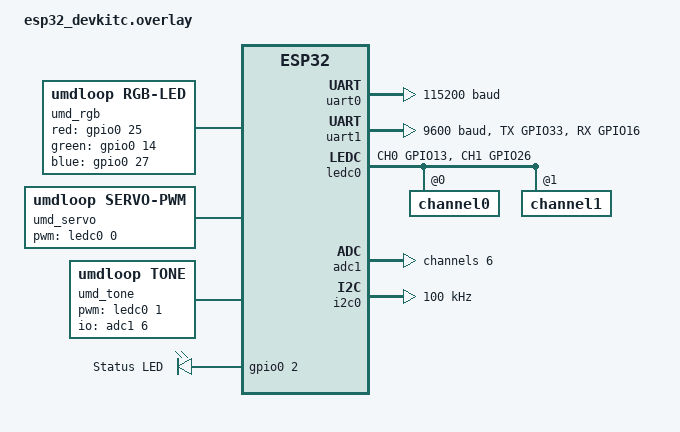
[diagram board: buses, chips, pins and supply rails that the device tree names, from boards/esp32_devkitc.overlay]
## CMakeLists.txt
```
# Copyright (c) 2026 UMD Loop
# SPDX-License-Identifier: Apache-2.0

cmake_minimum_required(VERSION 3.20.0)

list(APPEND ZEPHYR_EXTRA_MODULES ${CMAKE_CURRENT_SOURCE_DIR}/..)

# Always apply our pin map (works even if board overlay auto-detect misses)
set(DTC_OVERLAY_FILE ${CMAKE_CURRENT_SOURCE_DIR}/boards/esp32_devkitc.overlay)

find_package(Zephyr REQUIRED HINTS $ENV{ZEPHYR_BASE})
project(umd_loop_app)

target_sources(app PRIVATE src/main.c)
```

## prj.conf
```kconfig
# UMD Loop E2 application — enables peripherals + out-of-tree drivers

CONFIG_GPIO=y
CONFIG_PWM=y
CONFIG_ADC=y
CONFIG_SERIAL=y
CONFIG_UART_INTERRUPT_DRIVEN=n
CONFIG_I2C=y
CONFIG_LOG=y
CONFIG_PRINTK=y
CONFIG_CONSOLE=y
CONFIG_UART_CONSOLE=y

# Main stack / heap for multi-thread app
CONFIG_MAIN_STACK_SIZE=2048
CONFIG_HEAP_MEM_POOL_SIZE=2048

# Drivers (Kconfig from umd_loop module; also gated by DT nodes)
CONFIG_UMD_LOOP_RGB_LED=y
CONFIG_UMD_LOOP_SERVO=y
CONFIG_UMD_LOOP_TONE=y
CONFIG_UMD_LOOP_COMMS=y
```

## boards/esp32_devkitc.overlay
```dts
/*
 * ESP32 DevKitC overlay — conflict-free E2 pin map.
 * Used for board target: esp32_devkitc/esp32/procpu
 */

#include <zephyr/dt-bindings/gpio/gpio.h>
#include <zephyr/dt-bindings/pwm/pwm.h>
#include <zephyr/dt-bindings/adc/adc.h>
#include <zephyr/dt-bindings/i2c/i2c.h>

/ {
	chosen {
		zephyr,console = &uart0;
		zephyr,shell-uart = &uart0;
	};

	aliases {
		umd-rgb = &umd_rgb;
		umd-servo = &umd_servo;
		umd-tone = &umd_tone;
		umd-hex-uart = &uart1;
		led0 = &status_led;
		status-led = &status_led;
	};

	umd_rgb: rgb-led {
		compatible = "umdloop,rgb-led";
		red-gpios = <&gpio0 25 GPIO_ACTIVE_HIGH>;
		green-gpios = <&gpio0 14 GPIO_ACTIVE_HIGH>;
		blue-gpios = <&gpio0 27 GPIO_ACTIVE_HIGH>;
		status = "okay";
	};

	umd_servo: servo {
		compatible = "umdloop,servo-pwm";
		pwms = <&ledc0 0 PWM_MSEC(20) PWM_POLARITY_NORMAL>;
		min-pulse-us = <500>;
		max-pulse-us = <2000>;
		status = "okay";
	};

	umd_tone: tone {
		compatible = "umdloop,tone";
		pwms = <&ledc0 1 PWM_HZ(1000) PWM_POLARITY_NORMAL>;
		io-channels = <&adc1 6>;
		min-duration-ms = <200>;
		max-duration-ms = <2000>;
		status = "okay";
	};

	leds {
		compatible = "gpio-leds";
		status_led: led_0 {
			gpios = <&gpio0 2 GPIO_ACTIVE_HIGH>;
			label = "Status LED";
		};
	};
};

&pinctrl {
	uart1_umd: uart1_umd {
		group1 {
			pinmux = <UART1_TX_GPIO33>,
				 <UART1_RX_GPIO16>;
		};
	};

	ledc0_umd: ledc0_umd {
		group1 {
			pinmux = <LEDC_CH0_GPIO13>,
				 <LEDC_CH1_GPIO26>;
		};
	};
};

&uart0 {
	status = "okay";
	current-speed = <115200>;
};

&uart1 {
	status = "okay";
	current-speed = <9600>;
	pinctrl-0 = <&uart1_umd>;
	pinctrl-names = "default";
};

&ledc0 {
	pinctrl-0 = <&ledc0_umd>;
	pinctrl-names = "default";
	status = "okay";
	#address-cells = <1>;
	#size-cells = <0>;

	channel0@0 {
		reg = <0x0>;
		timer = <0>;
	};

	channel1@1 {
		reg = <0x1>;
		timer = <1>;
	};
};

&adc1 {
	status = "okay";

	#address-cells = <1>;
	#size-cells = <0>;

	channel@6 {
		reg = <6>;
		zephyr,gain = "ADC_GAIN_1";
		zephyr,reference = "ADC_REF_INTERNAL";
		zephyr,acquisition-time = <ADC_ACQ_TIME_DEFAULT>;
		zephyr,resolution = <12>;
	};
};

&i2c0 {
	status = "okay";
	clock-frequency = <I2C_BITRATE_STANDARD>;
};
```

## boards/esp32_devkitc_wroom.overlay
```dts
/*
 * App-local overlay (west picks up app/boards/<board>.overlay automatically).
 * Content mirrors ../boards/esp32_devkitc_wroom.overlay
 */

#include <zephyr/dt-bindings/gpio/gpio.h>
#include <zephyr/dt-bindings/pwm/pwm.h>
#include <zephyr/dt-bindings/adc/adc.h>
#include <zephyr/dt-bindings/i2c/i2c.h>

/ {
	chosen {
		zephyr,console = &uart0;
		zephyr,shell-uart = &uart0;
	};

	aliases {
		umd-rgb = &umd_rgb;
		umd-servo = &umd_servo;
		umd-tone = &umd_tone;
		umd-hex-uart = &uart1;
		status-led = &status_led_gpio;
	};

	umd_rgb: rgb-led {
		compatible = "umdloop,rgb-led";
		red-gpios = <&gpio0 25 GPIO_ACTIVE_HIGH>;
		green-gpios = <&gpio0 14 GPIO_ACTIVE_HIGH>;
		blue-gpios = <&gpio0 27 GPIO_ACTIVE_HIGH>;
		status = "okay";
	};

	umd_servo: servo {
		compatible = "umdloop,servo-pwm";
		pwms = <&ledc0 0 PWM_MSEC(20) PWM_POLARITY_NORMAL>;
		min-pulse-us = <500>;
		max-pulse-us = <2000>;
		status = "okay";
	};

	umd_tone: tone {
		compatible = "umdloop,tone";
		pwms = <&ledc0 1 PWM_HZ(1000) PWM_POLARITY_NORMAL>;
		io-channels = <&adc1 6>;
		min-duration-ms = <200>;
		max-duration-ms = <2000>;
		status = "okay";
	};

	status_led_gpio: status-led {
		compatible = "gpio-leds";
		status_led: led_2 {
			gpios = <&gpio0 2 GPIO_ACTIVE_HIGH>;
			label = "Status LED";
		};
	};
};

&pinctrl {
	uart1_default: uart1_default {
		group1 {
			pinmux = <UART1_TX_GPIO33>,
				 <UART1_RX_GPIO16>;
		};
	};

	ledc0_default: ledc0_default {
		group1 {
			pinmux = <LEDC_CH0_GPIO13>,
				 <LEDC_CH1_GPIO26>;
		};
	};
};

&uart0 {
	status = "okay";
	current-speed = <115200>;
};

&uart1 {
	status = "okay";
	current-speed = <9600>;
	pinctrl-0 = <&uart1_default>;
	pinctrl-names = "default";
};

&ledc0 {
	pinctrl-0 = <&ledc0_default>;
	pinctrl-names = "default";
	status = "okay";
	#address-cells = <1>;
	#size-cells = <0>;

	channel0@0 {
		reg = <0x0>;
		timer = <0>;
	};

	channel1@1 {
		reg = <0x1>;
		timer = <1>;
	};
};

&adc1 {
	status = "okay";

	#address-cells = <1>;
	#size-cells = <0>;

	channel@6 {
		reg = <6>;
		zephyr,gain = "ADC_GAIN_1";
		zephyr,reference = "ADC_REF_INTERNAL";
		zephyr,acquisition-time = <ADC_ACQ_TIME_DEFAULT>;
		zephyr,resolution = <12>;
	};
};

&i2c0 {
	status = "okay";
	clock-frequency = <I2C_BITRATE_STANDARD>;
};
```

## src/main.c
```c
/*
 * Copyright (c) 2026 UMD Loop
 * SPDX-License-Identifier: Apache-2.0
 *
 * Multi-threaded E2 app: replays E1 Systems 1–3 + I2C/USB blink using
 * umd_loop Zephyr drivers.
 *
 * USB console command prefixes (115200):
 *   H#RRGGBB   — HEX color -> nearest RGB LED  (also accepted on uart1 @ 9600)
 *   S<angle>   — servo 0..180, then home after 2 s
 *   T<freq>    — tone at freq Hz; duration from ADC
 *   N<0-255>   — blink status LED 5x (USB_comm)
 *
 * I2C slave address 8: any received byte blinks status LED once (I2C_receiver).
 */

#include <zephyr/device.h>
#include <zephyr/drivers/gpio.h>
#include <zephyr/drivers/i2c.h>
#include <zephyr/drivers/uart.h>
#include <zephyr/kernel.h>
#include <zephyr/logging/log.h>
#include <stdlib.h>
#include <string.h>

#include <umd_loop/comms.h>
#include <umd_loop/rgb_led.h>
#include <umd_loop/servo.h>
#include <umd_loop/tone.h>

LOG_MODULE_REGISTER(umd_loop_app, LOG_LEVEL_INF);

#define HEX_MSGQ_LEN   8
#define SERVO_MSGQ_LEN 4
#define TONE_MSGQ_LEN  4
#define BLINK_MSGQ_LEN 8
#define LINE_MAX       64

K_MSGQ_DEFINE(hex_msgq, sizeof(struct comms_rgb), HEX_MSGQ_LEN, 4);
K_MSGQ_DEFINE(servo_msgq, sizeof(int), SERVO_MSGQ_LEN, 4);
K_MSGQ_DEFINE(tone_msgq, sizeof(uint32_t), TONE_MSGQ_LEN, 4);
K_MSGQ_DEFINE(blink_msgq, sizeof(uint8_t), BLINK_MSGQ_LEN, 4);

static const struct device *rgb_dev = DEVICE_DT_GET(DT_NODELABEL(umd_rgb));
static const struct device *servo_dev = DEVICE_DT_GET(DT_NODELABEL(umd_servo));
static const struct device *tone_dev = DEVICE_DT_GET(DT_NODELABEL(umd_tone));
static const struct device *hex_uart = DEVICE_DT_GET(DT_ALIAS(umd_hex_uart));
static const struct device *console_uart = DEVICE_DT_GET(DT_CHOSEN(zephyr_console));

static const struct gpio_dt_spec status_led =
	GPIO_DT_SPEC_GET(DT_ALIAS(led0), gpios);

static void dispatch_usb_line(const char *line)
{
	struct comms_rgb color;
	int angle;
	uint32_t freq;
	unsigned long num;
	uint8_t blink_count;

	if (line == NULL || line[0] == '\0') {
		return;
	}

	switch (line[0]) {
	case 'H':
	case 'h':
		if (comms_parse_hex(line + 1, &color) == 0) {
			(void)k_msgq_put(&hex_msgq, &color, K_NO_WAIT);
		} else {
			LOG_WRN("bad HEX (want H#RRGGBB)");
		}
		break;
	case 'S':
	case 's':
		angle = (int)strtol(line + 1, NULL, 10);
		if (angle >= 0 && angle <= 180) {
			(void)k_msgq_put(&servo_msgq, &angle, K_NO_WAIT);
		} else {
			LOG_WRN("servo angle must be 0..180");
		}
		break;
	case 'T':
	case 't':
		freq = (uint32_t)strtoul(line + 1, NULL, 10);
		if (freq > 0U) {
			(void)k_msgq_put(&tone_msgq, &freq, K_NO_WAIT);
		} else {
			LOG_WRN("tone freq must be > 0");
		}
		break;
	case 'N':
	case 'n':
		num = strtoul(line + 1, NULL, 10);
		if (num <= 255UL) {
			blink_count = 5;
			(void)k_msgq_put(&blink_msgq, &blink_count, K_NO_WAIT);
			LOG_INF("USB number %lu -> blink 5x", num);
		} else {
			LOG_WRN("number must be 0..255");
		}
		break;
	default:
		/* Bare HEX without prefix still accepted on console (E1 USB test) */
		if (comms_parse_hex(line, &color) == 0) {
			(void)k_msgq_put(&hex_msgq, &color, K_NO_WAIT);
		} else {
			LOG_WRN("unknown cmd '%s' (H/S/T/N)", line);
		}
		break;
	}
}

static void hex_thread(void *a, void *b, void *c)
{
	ARG_UNUSED(a);
	ARG_UNUSED(b);
	ARG_UNUSED(c);

	char line[LINE_MAX];
	size_t accum = 0;
	struct comms_rgb color;
	int n;

	if (!device_is_ready(rgb_dev) || !device_is_ready(hex_uart)) {
		LOG_ERR("hex thread: devices not ready");
		return;
	}

	LOG_INF("hex thread ready (uart1 @ 9600 + USB H#RRGGBB)");

	while (true) {
		n = comms_uart_readline(hex_uart, line, sizeof(line), &accum);
		if (n > 0) {
			if (comms_parse_hex(line, &color) == 0) {
				(void)k_msgq_put(&hex_msgq, &color, K_NO_WAIT);
			} else {
				LOG_WRN("wire HEX format error");
			}
		}

		if (k_msgq_get(&hex_msgq, &color, K_MSEC(20)) == 0) {
			(void)rgb_led_nearest_primary(rgb_dev, color.r, color.g, color.b);
		}
	}
}

static void servo_thread(void *a, void *b, void *c)
{
	ARG_UNUSED(a);
	ARG_UNUSED(b);
	ARG_UNUSED(c);

	int angle;

	if (!device_is_ready(servo_dev)) {
		LOG_ERR("servo thread: device not ready");
		return;
	}

	LOG_INF("servo thread ready (USB S<angle>)");

	while (true) {
		if (k_msgq_get(&servo_msgq, &angle, K_FOREVER) == 0) {
			LOG_INF("Moving to %d degrees", angle);
			(void)servo_set_angle(servo_dev, angle);
			k_msleep(2000);
			(void)servo_home(servo_dev);
			LOG_INF("Returned to 0");
		}
	}
}

static void tone_thread(void *a, void *b, void *c)
{
	ARG_UNUSED(a);
	ARG_UNUSED(b);
	ARG_UNUSED(c);

	uint32_t freq;

	if (!device_is_ready(tone_dev)) {
		LOG_ERR("tone thread: device not ready");
		return;
	}

	LOG_INF("tone thread ready (USB T<freq>)");

	while (true) {
		if (k_msgq_get(&tone_msgq, &freq, K_FOREVER) == 0) {
			/* duration_ms == 0 -> driver reads ADC (E1 System 3) */
			(void)tone_play(tone_dev, freq, 0);
			LOG_INF("tone done");
		}
	}
}

static void blink_thread(void *a, void *b, void *c)
{
	ARG_UNUSED(a);
	ARG_UNUSED(b);
	ARG_UNUSED(c);

	uint8_t times;

	if (!gpio_is_ready_dt(&status_led)) {
		LOG_ERR("blink thread: status LED not ready");
		return;
	}

	(void)gpio_pin_configure_dt(&status_led, GPIO_OUTPUT_INACTIVE);
	LOG_INF("blink thread ready (I2C / USB N)");

	while (true) {
		if (k_msgq_get(&blink_msgq, &times, K_FOREVER) == 0) {
			(void)comms_status_blink(status_led.port, status_led.pin,
						 status_led.dt_flags, times, 300, 300);
		}
	}
}

static void usb_thread(void *a, void *b, void *c)
{
	ARG_UNUSED(a);
	ARG_UNUSED(b);
	ARG_UNUSED(c);

	char line[LINE_MAX];
	size_t accum = 0;
	int n;

	if (!device_is_ready(console_uart)) {
		LOG_ERR("usb thread: console UART not ready");
		return;
	}

	LOG_INF("USB demux ready — commands: H#RRGGBB | S90 | T440 | N123");

	while (true) {
		n = comms_uart_readline(console_uart, line, sizeof(line), &accum);
		if (n > 0) {
			dispatch_usb_line(line);
		} else {
			k_msleep(10);
		}
	}
}

/*
 * Minimal I2C target (slave) receive path.
 * Zephyr's i2c_target API varies by SoC; we poll a soft mailbox that an
 * optional external master can fill via a board-specific target driver.
 * For the ESP32 demo path we also accept I2C_receiver semantics by enqueueing
 * a blink when CONFIG is enabled — here we expose a callable for tests.
 */
void umd_loop_i2c_byte_received(uint8_t value)
{
	uint8_t times = 1;

	LOG_INF("Received via I2C: %u", value);
	(void)k_msgq_put(&blink_msgq, &times, K_NO_WAIT);
}

K_THREAD_DEFINE(hex_tid, 2048, hex_thread, NULL, NULL, NULL, 5, 0, 0);
K_THREAD_DEFINE(servo_tid, 2048, servo_thread, NULL, NULL, NULL, 5, 0, 0);
K_THREAD_DEFINE(tone_tid, 2048, tone_thread, NULL, NULL, NULL, 5, 0, 0);
K_THREAD_DEFINE(blink_tid, 1536, blink_thread, NULL, NULL, NULL, 5, 0, 0);
K_THREAD_DEFINE(usb_tid, 2048, usb_thread, NULL, NULL, NULL, 4, 0, 0);

int main(void)
{
	LOG_INF("UMD Loop E2 app starting (Zephyr multi-thread)");
	LOG_INF("Devices: rgb=%d servo=%d tone=%d hex_uart=%d",
		device_is_ready(rgb_dev), device_is_ready(servo_dev),
		device_is_ready(tone_dev), device_is_ready(hex_uart));
	return 0;
}
```
